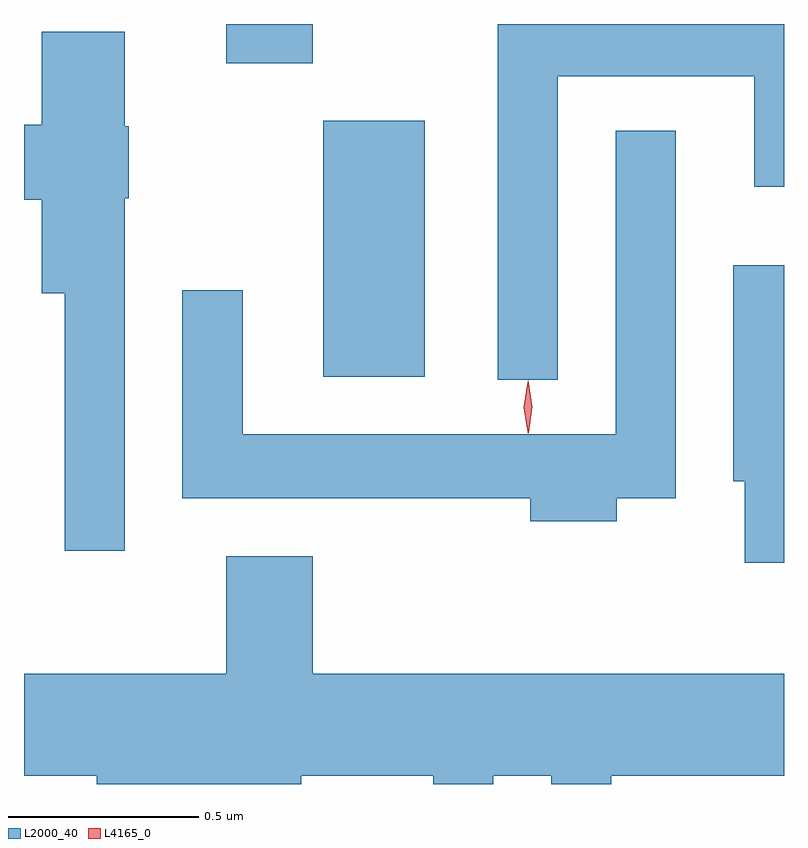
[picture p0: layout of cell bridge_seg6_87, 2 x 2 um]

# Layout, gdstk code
import gdstk
lib = gdstk.Library(unit=1e-6, precision=1e-09)
def R(c, l, rs):  # rectangles x0, y0, x1, y1
    for r in rs: c.add(gdstk.rectangle(r[:2], r[2:], *l))
def P(c, l, *ps):  # polygons
    for p in ps: c.add(gdstk.Polygon(p, *l))
L2000_40 = (2000, 40)
L4165_0 = (4165, 0)

bridge_seg6_87 = lib.new_cell('bridge_seg6_87')
R(bridge_seg6_87, L2000_40, [(1327.146,1659.866,1327.414,1660.539), (1326.891,1660.691,1327.119,1660.794)])
P(bridge_seg6_87, L2000_40, [(1327.764,1660.656),(1328.281,1660.656),(1328.281,1660.366),(1328.359,1660.366),(1328.359,1660.794),(1327.606,1660.794),(1327.606,1659.858),(1327.764,1659.858)],
  [(1326.624,1660.335),(1326.634,1660.335),(1326.634,1660.525),(1326.624,1660.525),(1326.624,1660.774),(1326.406,1660.774),(1326.406,1660.529),(1326.359,1660.529),(1326.359,1660.331),(1326.406,1660.331),(1326.406,1660.086),(1326.466,1660.086),(1326.466,1659.408),(1326.624,1659.408)],
  [(1327.919,1659.546),(1328.074,1659.546),(1328.074,1660.513),(1327.916,1660.513),(1327.916,1659.714),(1326.934,1659.714),(1326.934,1660.093),(1326.776,1660.093),(1326.776,1659.546),(1327.691,1659.546),(1327.691,1659.486),(1327.919,1659.486)],
  [(1328.359,1660.159),(1328.226,1660.159),(1328.226,1659.591),(1328.256,1659.591),(1328.256,1659.376),(1328.359,1659.376)],
  [(1327.089,1658.816),(1327.436,1658.816),(1327.436,1658.794),(1327.594,1658.794),(1327.594,1658.816),(1327.746,1658.816),(1327.746,1658.794),(1327.904,1658.794),(1327.904,1658.816),(1328.359,1658.816),(1328.359,1659.084),(1327.119,1659.084),(1327.119,1659.394),(1326.891,1659.394),(1326.891,1659.084),(1326.359,1659.084),(1326.359,1658.816),(1326.551,1658.816),(1326.551,1658.794),(1327.089,1658.794)])
P(bridge_seg6_87, L4165_0, [(1327.684,1659.719),(1327.684,1659.72),(1327.674,1659.786),(1327.684,1659.852),(1327.684,1659.853),(1327.685,1659.852),(1327.694,1659.786),(1327.685,1659.72)],
  [(1327.686,1659.717),(1327.686,1659.718),(1327.676,1659.787),(1327.686,1659.856),(1327.686,1659.856),(1327.686,1659.856),(1327.696,1659.787),(1327.687,1659.718)])

lib.write_gds('bridge_seg6_87.gds')
